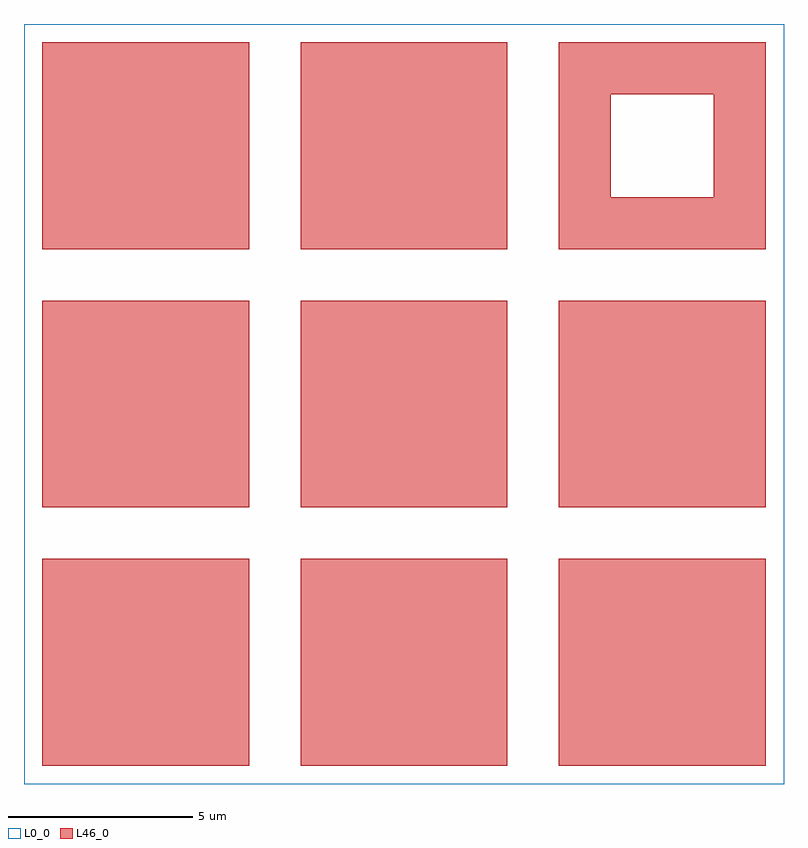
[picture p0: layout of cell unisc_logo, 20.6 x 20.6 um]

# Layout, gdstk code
import gdstk
lib = gdstk.Library(unit=1e-6, precision=1e-09)
def R(c, l, rs):  # rectangles x0, y0, x1, y1
    for r in rs: c.add(gdstk.rectangle(r[:2], r[2:], *l))
def A(c, l, x, y, w, h, nx, ny, dx, dy):  # array of equal rectangles
    R(c, l, [(x+i*dx, y+j*dy, x+i*dx+w, y+j*dy+h) for i in range(nx) for j in range(ny)])
def P(c, l, *ps):  # polygons
    for p in ps: c.add(gdstk.Polygon(p, *l))
L0_0 = (0, 0)
L46_0 = (46, 0)

unisc_logo = lib.new_cell('unisc_logo')
R(unisc_logo, L0_0, [(0,0,20.6,20.6)])
A(unisc_logo, L46_0, 0.5, 0.5, 5.6, 5.6, 3, 2, 7, 7)
R(unisc_logo, L46_0, [(0.5,14.5,6.1,20.1), (7.5,14.5,13.1,20.1)])
P(unisc_logo, L46_0, [(14.5,20.1),(14.5,15.9),(15.9,15.9),(15.9,18.7),(18.7,18.7),(18.7,15.9),(15.9,15.9),(14.5,15.9),(14.5,14.5),(20.1,14.5),(20.1,20.1)])

lib.write_gds('unisc_logo.gds')
